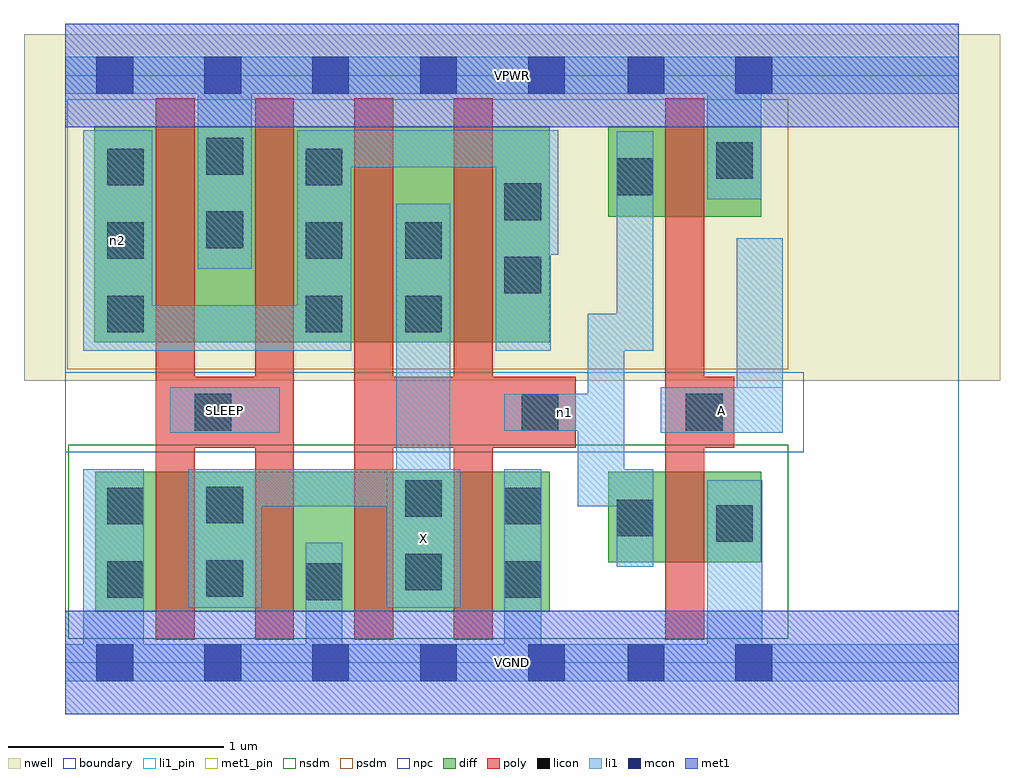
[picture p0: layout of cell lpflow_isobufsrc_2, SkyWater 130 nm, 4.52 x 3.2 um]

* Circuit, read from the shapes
.subckt lpflow_isobufsrc_2 A SLEEP VGND VPWR X n1 n2
XM1 X SLEEP VGND VSUBS sky130_fd_pr__nfet_01v8 w=0.65 l=0.18 m=2
XM2 X n1 VGND VSUBS sky130_fd_pr__nfet_01v8 w=0.65 l=0.18 m=2
XM3 VGND A n1 VSUBS sky130_fd_pr__nfet_01v8 w=0.42 l=0.18
XM4 VPWR SLEEP n2 n3 sky130_fd_pr__pfet_01v8 w=1 l=0.18 m=2
XM5 X n1 n2 n3 sky130_fd_pr__pfet_01v8 w=1 l=0.18 m=2
XM6 VPWR A n1 n3 sky130_fd_pr__pfet_01v8 w=0.42 l=0.18
.ends

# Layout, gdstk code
import gdstk
lib = gdstk.Library(unit=1e-6, precision=1e-09)
def R(c, l, rs):  # rectangles x0, y0, x1, y1
    for r in rs: c.add(gdstk.rectangle(r[:2], r[2:], *l))
def A(c, l, x, y, w, h, nx, ny, dx, dy):  # array of equal rectangles
    R(c, l, [(x+i*dx, y+j*dy, x+i*dx+w, y+j*dy+h) for i in range(nx) for j in range(ny)])
nwell = (64, 20)
diff = (65, 20)
poly = (66, 20)
licon = (66, 44)
li1_pin = (67, 16)
li1 = (67, 20)
mcon = (67, 44)
met1_pin = (68, 16)
met1 = (68, 20)
nsdm = (93, 44)
psdm = (94, 20)
npc = (95, 20)
boundary = (235, 4)

lpflow_isobufsrc_2 = lib.new_cell('lpflow_isobufsrc_2')
R(lpflow_isobufsrc_2, nwell, [(-0.19,1.305,4.33,2.91), (0,1.305,4.14,2.91)])
R(lpflow_isobufsrc_2, diff, [(0.14,0.235,2.245,0.885), (2.515,0.465,3.225,0.885), (0.135,1.485,2.245,2.485), (2.515,2.065,3.225,2.485)])
A(lpflow_isobufsrc_2, poly, 0.42, 0.105, 0.18, 2.51, 4, 1, 0.46, 0)
R(lpflow_isobufsrc_2, poly, [(2.78,0.105,2.96,2.615), (0.42,0.995,1.06,1.325), (1.34,0.995,2.365,1.325), (2.78,0.995,3.1,1.325)])
A(lpflow_isobufsrc_2, licon, 0.195, 1.53, 0.17, 0.17, 1, 3, 0, 0.34)
A(lpflow_isobufsrc_2, licon, 1.115, 1.53, 0.17, 0.17, 1, 3, 0, 0.34)
R(lpflow_isobufsrc_2, licon, [(1.115,0.29,1.285,0.46), (0.195,0.3,0.365,0.47), (2.035,0.3,2.205,0.47), (0.655,0.305,0.825,0.475), (1.575,0.335,1.745,0.505), (3.015,0.56,3.185,0.73), (2.555,0.585,2.725,0.755), (0.195,0.64,0.365,0.81), (2.035,0.64,2.205,0.81), (0.655,0.645,0.825,0.815), (1.575,0.675,1.745,0.845), (0.6,1.075,0.77,1.245), (2.115,1.075,2.285,1.245), (2.875,1.075,3.045,1.245), (1.575,1.53,1.745,1.7), (2.035,1.71,2.205,1.88), (1.575,1.87,1.745,2.04), (0.655,1.92,0.825,2.09), (2.035,2.05,2.205,2.22), (2.555,2.165,2.725,2.335), (3.015,2.24,3.185,2.41), (0.655,2.26,0.825,2.43)])
R(lpflow_isobufsrc_2, li1_pin, [(1.49,0.255,1.83,0.895), (0.485,1.065,0.995,1.275), (2.76,1.065,3.325,1.275)])
R(lpflow_isobufsrc_2, li1, [(0,-0.085,4.14,0.085), (0.085,-0.085,0.365,0.895), (1.115,-0.085,1.285,0.555), (2.035,-0.085,2.205,0.895), (2.975,-0.085,3.23,0.845), (0.57,0.255,0.91,0.895), (1.49,0.255,1.83,0.895), (1.535,0.255,1.785,2.125), (2.555,0.445,2.725,0.895), (0.57,0.725,1.83,0.895), (2.375,0.725,2.59,1.245), (2.42,0.725,2.59,1.615), (0.485,1.065,0.995,1.275), (2.76,1.065,3.325,1.275), (3.11,1.065,3.325,1.965), (2.035,1.075,2.59,1.245), (0.085,1.445,0.405,2.465), (0.085,1.445,1.325,1.655), (1.075,1.445,1.325,2.465), (1.995,1.445,2.25,2.465), (2.555,1.445,2.725,2.46), (0.615,1.825,0.865,2.805), (1.995,1.89,2.285,2.465), (2.975,2.145,3.225,2.805), (1.075,2.295,2.285,2.465), (0,2.635,4.14,2.805)])
A(lpflow_isobufsrc_2, mcon, 0.145, -0.085, 0.17, 0.17, 5, 2, 0.5, 2.72)
R(lpflow_isobufsrc_2, mcon, [(2.605,-0.085,2.775,0.085), (3.105,-0.085,3.275,0.085), (2.605,2.635,2.775,2.805), (3.105,2.635,3.275,2.805)])
R(lpflow_isobufsrc_2, met1_pin, [(0,-0.24,4.14,0.24), (0,2.48,4.14,2.96)])
R(lpflow_isobufsrc_2, met1, [(0,-0.24,4.14,0.24), (0,2.48,4.14,2.96)])
R(lpflow_isobufsrc_2, nsdm, [(0.015,0.11,3.35,1.01)])
R(lpflow_isobufsrc_2, psdm, [(0.01,1.36,3.35,2.61)])
R(lpflow_isobufsrc_2, npc, [(0,0.975,3.42,1.345)])
R(lpflow_isobufsrc_2, boundary, [(0,0,4.14,2.72)])
lpflow_isobufsrc_2.add(gdstk.Label('A', (3.042,1.17), layer=67, texttype=5))
lpflow_isobufsrc_2.add(gdstk.Label('SLEEP', (0.74,1.17), layer=67, texttype=5))
lpflow_isobufsrc_2.add(gdstk.Label('X', (1.66,0.575), layer=67, texttype=5))
lpflow_isobufsrc_2.add(gdstk.Label('n1', (2.312,1.16), layer=67, texttype=5))
lpflow_isobufsrc_2.add(gdstk.Label('n2', (0.245,1.955), layer=67, texttype=5))
lpflow_isobufsrc_2.add(gdstk.Label('VPWR', (2.07,2.72), layer=68, texttype=5))
lpflow_isobufsrc_2.add(gdstk.Label('VGND', (2.07,0), layer=68, texttype=5))
lpflow_isobufsrc_2.add(gdstk.Label('A', (3.042,1.17), layer=67, texttype=16))
lpflow_isobufsrc_2.add(gdstk.Label('SLEEP', (0.74,1.17), layer=67, texttype=16))
lpflow_isobufsrc_2.add(gdstk.Label('X', (1.66,0.575), layer=67, texttype=16))
lpflow_isobufsrc_2.add(gdstk.Label('VPWR', (2.07,2.72), layer=68, texttype=16))
lpflow_isobufsrc_2.add(gdstk.Label('VGND', (2.07,0), layer=68, texttype=16))

lib.write_gds('lpflow_isobufsrc_2.gds')
